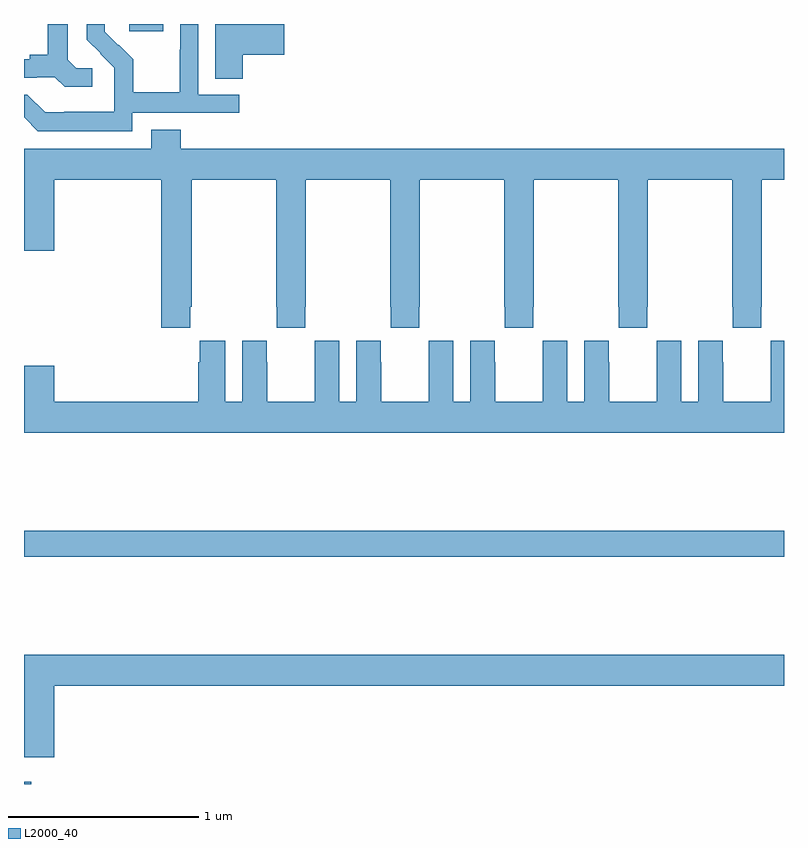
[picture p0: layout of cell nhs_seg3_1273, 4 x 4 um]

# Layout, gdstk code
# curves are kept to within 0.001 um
import gdstk
lib = gdstk.Library(unit=1e-6, precision=1e-09)
def R(c, l, rs):  # rectangles x0, y0, x1, y1
    for r in rs: c.add(gdstk.rectangle(r[:2], r[2:], *l))
def P(c, l, *ps):  # polygons
    for p in ps: c.add(gdstk.Polygon(p, *l))
L2000_40 = (2000, 40)

nhs_seg3_1273 = lib.new_cell('nhs_seg3_1273')
R(nhs_seg3_1273, L2000_40, [(177,700.4,177.037,700.411), (177,701.596,181,701.732), (177.554,704.361,177.733,704.4)])
P(nhs_seg3_1273, L2000_40, [(178.151,704.237),(178.369,704.237),(178.369,704.4),(178.007,704.4),(178.007,704.113),(178.151,704.113)],
  [(177.358,704.166),(177.276,704.166),(177.229,704.213),(177.229,704.4),(177.125,704.4),(177.125,704.237),(177.029,704.237),(177.029,704.214),(177,704.214),(177,704.118),(177.068,704.118),(177.068,704.121),(177.162,704.121),(177.214,704.069),(177.358,704.069)],
  [(177.57,703.932),(178.132,703.932),(178.132,704.028),(177.918,704.028),(177.918,704.4),(177.822,704.4),(177.822,704.264),(177.82,704.264),(177.82,704.041),(177.575,704.041),(177.575,704.215),(177.498,704.292),(177.495,704.289),(177.425,704.36),(177.425,704.4),(177.33,704.4),(177.33,704.318),(177.476,704.17),(177.476,704.073),(177.474,704.073),(177.474,703.939),(177.211,703.939),(177.211,703.935),(177.111,703.935),(177.018,704.028),(177,704.028),(177,703.908),(177.073,703.835),(177.57,703.835)],
  [(177.824,703.843),(177.671,703.843),(177.671,703.744),(177,703.744),(177,703.206),(177.16,703.206),(177.16,703.58),(177.722,703.58),(177.722,702.801),(177.875,702.801),(177.875,702.913),(177.882,702.913),(177.882,703.58),(178.327,703.58),(178.327,702.913),(178.329,702.913),(178.329,702.801),(178.479,702.801),(178.479,702.913),(178.482,702.913),(178.482,703.58),(178.927,703.58),(178.927,702.913),(178.929,702.913),(178.929,702.801),(179.079,702.801),(179.079,702.913),(179.082,702.913),(179.082,703.58),(179.527,703.58),(179.527,702.913),(179.529,702.913),(179.529,702.801),(179.679,702.801),(179.679,702.913),(179.682,702.913),(179.682,703.58),(180.127,703.58),(180.127,702.913),(180.129,702.913),(180.129,702.801),(180.279,702.801),(180.279,702.913),(180.282,702.913),(180.282,703.58),(180.727,703.58),(180.727,702.913),(180.729,702.913),(180.729,702.801),(180.879,702.801),(180.879,702.913),(180.882,702.913),(180.882,703.58),(181,703.58),(181,703.744),(177.824,703.744)],
  [(181,702.733),(180.93,702.733),(180.93,702.62),(180.929,702.62),(180.929,702.412),(180.679,702.412),(180.679,702.62),(180.678,702.62),(180.678,702.733),(180.548,702.733),(180.548,702.412),(180.46,702.412),(180.46,702.733),(180.33,702.733),(180.33,702.62),(180.329,702.62),(180.329,702.412),(180.079,702.412),(180.079,702.62),(180.078,702.62),(180.078,702.733),(179.948,702.733),(179.948,702.412),(179.86,702.412),(179.86,702.733),(179.73,702.733),(179.73,702.62),(179.729,702.62),(179.729,702.412),(179.479,702.412),(179.479,702.62),(179.478,702.62),(179.478,702.733),(179.348,702.733),(179.348,702.412),(179.26,702.412),(179.26,702.733),(179.13,702.733),(179.13,702.62),(179.129,702.62),(179.129,702.412),(178.879,702.412),(178.879,702.62),(178.878,702.62),(178.878,702.733),(178.748,702.733),(178.748,702.412),(178.66,702.412),(178.66,702.733),(178.53,702.733),(178.53,702.62),(178.529,702.62),(178.529,702.412),(178.279,702.412),(178.279,702.62),(178.278,702.62),(178.278,702.733),(178.148,702.733),(178.148,702.412),(178.06,702.412),(178.06,702.733),(177.926,702.733),(177.926,702.62),(177.917,702.62),(177.917,702.412),(177.16,702.412),(177.16,702.601),(177,702.601),(177,702.248),(181,702.248)],
  [(177.16,700.916),(181,700.916),(181,701.08),(177,701.08),(177,700.542),(177.16,700.542)])

lib.write_gds('nhs_seg3_1273.gds')
